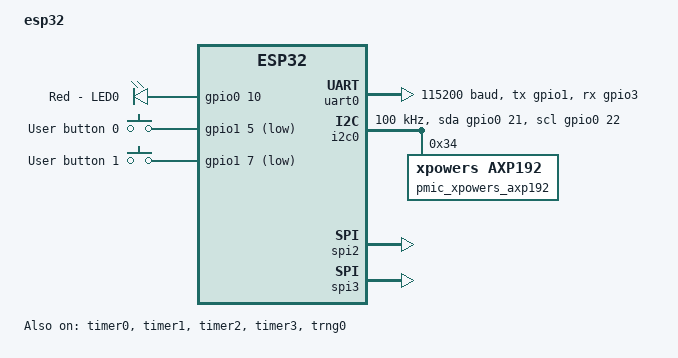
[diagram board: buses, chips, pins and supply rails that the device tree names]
/*
 * Copyright (c) 2022 AVSystem Sławomir Wolf Sp.j. (AVSystem)
 *
 * SPDX-License-Identifier: Apache-2.0
 */
/dts-v1/;

#include <espressif/esp32.dtsi>
#include "m5stickc_plus-pinctrl.dtsi"

/ {
	model = "esp32";
	compatible = "espressif,esp32";

	aliases {
		led0 = &red_led;
		sw0 = &user_button_0;
		sw1 = &user_button_1;
		uart-0 = &uart0;
		i2c-0 = &i2c0;
		watchdog0 = &wdt0;
	};

	chosen {
		zephyr,sram = &sram0;
		zephyr,console = &uart0;
		zephyr,shell-uart = &uart0;
		zephyr,flash = &flash0;
	};

	leds {
		compatible = "gpio-leds";

		red_led: led_0 {
			gpios =  <&gpio0 10 GPIO_ACTIVE_HIGH>;
			label = "Red - LED0";
		};
	};

	gpio_keys {
		compatible = "gpio-keys";

		user_button_0: button_0 {
			label = "User button 0";
			gpios = <&gpio1 5 GPIO_ACTIVE_LOW>;
		};
		user_button_1: button_1 {
			label = "User button 1";
			gpios = <&gpio1 7 GPIO_ACTIVE_LOW>;
		};
	};
};

&cpu0 {
	clock-frequency = <ESP32_CLK_CPU_240M>;
};

&cpu1 {
	clock-frequency = <ESP32_CLK_CPU_240M>;
};

&uart0 {
	status = "okay";
	current-speed = <115200>;
	pinctrl-0 = <&uart0_tx_gpio1 &uart0_rx_gpio3>;
	pinctrl-names = "default";
};

&gpio0 {
	status = "okay";
};

&gpio1 {
	status = "okay";
};

/* IMU MPU-6886, RTC BM8563, PMU AXP192 */
&i2c0 {
	status = "okay";
	clock-frequency = <I2C_BITRATE_STANDARD>;
	sda-gpios = <&gpio0 21 GPIO_OPEN_DRAIN>;
	scl-gpios = <&gpio0 22 GPIO_OPEN_DRAIN>;
	pinctrl-0 = <&i2c0_default>;
	pinctrl-names = "default";

	pmic_xpowers_axp192: pmic@34 {
		compatible = "xpowers,axp192";
		reg = <0x34>;

		pmic_axp192_regulators: regulators {
			compatible = "xpowers,axp192-regulator";

			pmic_axp192_buck1: BUCK1 {
				/* 700mV~3500mV@25mV/step, max output 1200mA */
				regulator-init-microvolt = <3300000>;
				regulator-boot-on;
			};

			pmic_axp192_buck2: BUCK2 {
				/* 700mV~2275mV@25mV/step, max output 1600mA */
				regulator-init-microvolt = <2275000>;
				regulator-boot-on;
			};

			pmic_axp192_buck3: BUCK3 {
				/* 700mV~3500mV@25mV/step, max output 700mA */
				regulator-init-microvolt = <3300000>;
				regulator-boot-on;
			};

			pmic_axp192_ldo1: LDO1 {
				/* Always on */
				regulator-always-on;
			};

			pmic_axp192_ldo2: LDO2 {
				/* 1800mV~3300mV@100mV/step, max output 200mA */
				regulator-init-microvolt = <3300000>;
				regulator-boot-on;
			};

			pmic_axp192_ldo3: LDO3 {
				/* 1800mV~3300mV@100mV/step, max output 200mA */
				regulator-init-microvolt = <3300000>;
				regulator-boot-on;
			};

			pmic_axp192_ldoio0: LDOIO0 {
				/* 1800mV~3300mV@100mV/step, max output 50mA */
				regulator-init-microvolt = <3300000>;
				regulator-boot-on;
			};
		};
	};
};

&spi2 {
	#address-cells = <1>;
	#size-cells = <0>;
	status = "okay";
	pinctrl-0 = <&spim2_default>;
	pinctrl-names = "default";
};

/* LCD TFT 1.14", 135x240 px, ST7789v2 */
&spi3 {
	#address-cells = <1>;
	#size-cells = <0>;
	status = "okay";
	pinctrl-0 = <&spim3_default>;
	pinctrl-names = "default";
};

&timer0 {
	status = "okay";
};

&timer1 {
	status = "okay";
};

&timer2 {
	status = "okay";
};

&timer3 {
	status = "okay";
};

&trng0 {
	status = "okay";
};

&flash0 {
	status = "okay";
	partitions {
		compatible = "fixed-partitions";
		#address-cells = <1>;
		#size-cells = <1>;

		/* Reserve 60kB for the bootloader */
		boot_partition: partition@1000 {
			label = "mcuboot";
			reg = <0x00001000 0x0000F000>;
			read-only;
		};

		/* Reserve 1024kB for the application in slot 0 */
		slot0_partition: partition@10000 {
			label = "image-0";
			reg = <0x00010000 0x00100000>;
		};

		/* Reserve 1024kB for the application in slot 1 */
		slot1_partition: partition@110000 {
			label = "image-1";
			reg = <0x00110000 0x00100000>;
		};

		/* Reserve 256kB for the scratch partition */
		scratch_partition: partition@210000 {
			label = "image-scratch";
			reg = <0x00210000 0x00040000>;
		};

		storage_partition: partition@250000 {
			label = "storage";
			reg = <0x00250000 0x00006000>;
		};
	};
};
